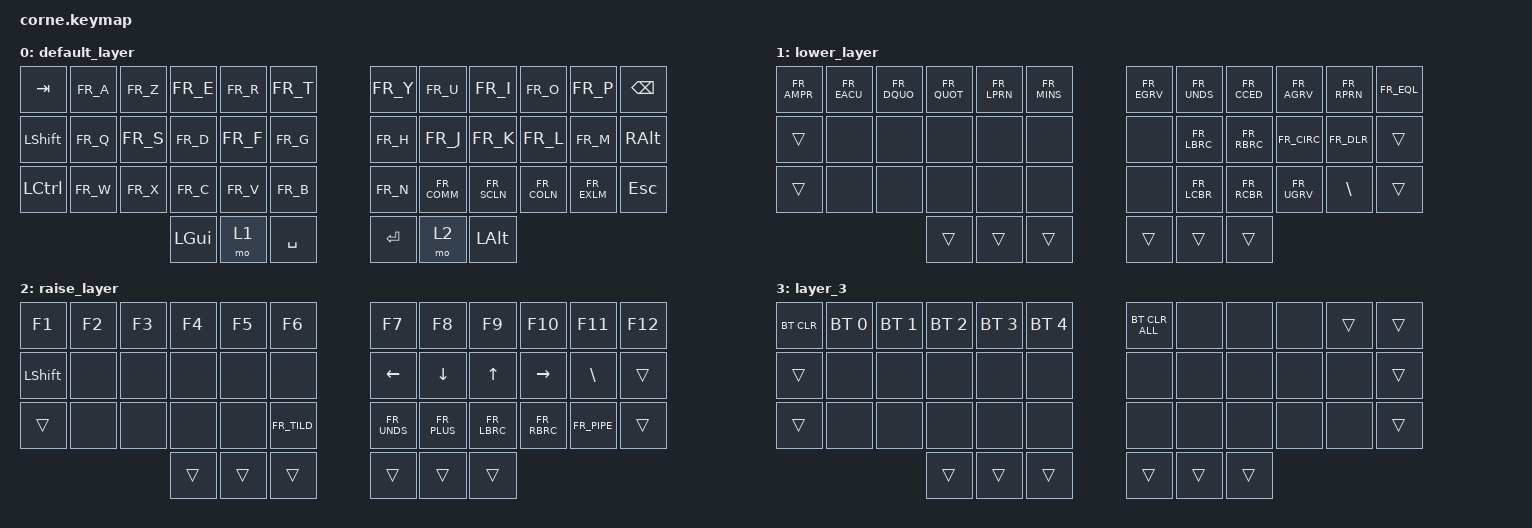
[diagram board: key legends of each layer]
/*
* Copyright (c) 2020 The ZMK Contributors
*

* SPDX-License-Identifier: MIT
*/

#include <behaviors.dtsi>
#include <dt-bindings/zmk/bt.h>
#include <dt-bindings/zmk/keys.h>
#include "keymap_french.h"
#include <dt-bindings/zmk/rgb.h>

&led_strip {
  chain-length = <0>;
  // chain-length = <27>;
  // 21 backlight + 6 glowlight
};

/ {
    combos {
        compatible = "zmk,combos";
    };

keymap {
    compatible = "zmk,keymap";

default_layer {
    bindings = <
 // 1            2         3         4         5         6          7         8            9            10           11           12
 &kp TAB         &kp FR_A  &kp FR_Z  &kp FR_E  &kp FR_R  &kp FR_T   &kp FR_Y  &kp FR_U     &kp FR_I     &kp FR_O     &kp FR_P     &kp BSPC
 &kp LEFT_SHIFT  &kp FR_Q  &kp FR_S  &kp FR_D  &kp FR_F  &kp FR_G   &kp FR_H  &kp FR_J     &kp FR_K     &kp FR_L     &kp FR_M     &kp RALT
 &kp LCTRL       &kp FR_W  &kp FR_X  &kp FR_C  &kp FR_V  &kp FR_B   &kp FR_N  &kp FR_COMM  &kp FR_SCLN  &kp FR_COLN  &kp FR_EXLM  &kp ESC
                                     &kp LGUI  &mo 1     &kp SPACE  &kp RET   &mo 2        &kp LALT
    >;
};

lower_layer {
    bindings = <
 // 1         2            3            4            5            6            7            8            9            10           11           12
 &kp FR_AMPR  &kp FR_EACU  &kp FR_DQUO  &kp FR_QUOT  &kp FR_LPRN  &kp FR_MINS  &kp FR_EGRV  &kp FR_UNDS  &kp FR_CCED  &kp FR_AGRV  &kp FR_RPRN  &kp FR_EQL
 &trans       &none        &none        &none        &none        &none        &none        &kp FR_LBRC  &kp FR_RBRC  &kp FR_CIRC  &kp FR_DLR   &trans
 &trans       &none        &none        &none        &none        &none        &none        &kp FR_LCBR  &kp FR_RCBR  &kp FR_UGRV  &kp BSLH     &trans
                                        &trans       &trans       &trans       &trans       &trans       &trans
    >;
};

raise_layer {
    bindings = <
 // 1        2       3       4       5       6            7            8            9            10           11           12
 &kp F1      &kp F2  &kp F3  &kp F4  &kp F5  &kp F6       &kp F7       &kp F8       &kp F9       &kp F10      &kp F11      &kp F12
 &kp LSHIFT  &none   &none   &none   &none   &none        &kp LEFT     &kp DOWN     &kp UP       &kp RIGHT    &kp BSLH     &trans
 &trans      &none   &none   &none   &none   &kp FR_TILD  &kp FR_UNDS  &kp FR_PLUS  &kp FR_LBRC  &kp FR_RBRC  &kp FR_PIPE  &trans
                             &trans  &trans  &trans     &trans     &trans    &trans
    >;
};

layer_3 {
    bindings = <
 // 1        2             3             4             5             6             7               8       9       10     11      12
 &bt BT_CLR  &bt BT_SEL 0  &bt BT_SEL 1  &bt BT_SEL 2  &bt BT_SEL 3  &bt BT_SEL 4  &bt BT_CLR_ALL  &none   &none   &none  &trans  &trans
 &trans      &none         &none         &none         &none         &none         &none           &none   &none   &none  &none   &trans
 &trans      &none         &none         &none         &none         &none         &none           &none   &none   &none  &none   &trans
                                         &trans        &trans        &trans        &trans          &trans  &trans
        >;
    };
};

conditional_layers {
    compatible = "zmk,conditional-layers";

        Layer3 {
            if-layers = <1 2>;
            then-layer = <3>;
        };
    };
};
